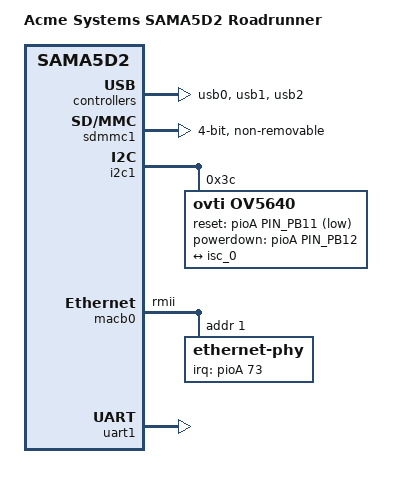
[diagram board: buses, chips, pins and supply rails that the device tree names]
/*
 * Device Tree file for Acme Systems RoadRunner S
 * ISC sensor
 */

/dts-v1/;
#include "sama5d2.dtsi"
#include "sama5d2-pinfunc.h"
#include <dt-bindings/mfd/atmel-flexcom.h>
#include <dt-bindings/gpio/gpio.h>

/ {
	model = "Acme Systems SAMA5D2 Roadrunner";
	compatible = "atmel,sama5d2-roadrunner", "atmel,sama5d27","atmel,sama5d2", "atmel,sama5";

	bootargs = "mem=256M console=ttyS0,115200 root=/dev/mmcblk0p2 rootfstype=ext4 rw rootwait consoleblank=0";

	chosen {
		stdout-path = "serial0:115200n8";
	};

	clocks {
		slow_xtal {
			clock-frequency = <32768>;
		};

		main_xtal {
			clock-frequency = <12000000>;
		};
	};

	ahb {
		usb0: gadget@300000 {
			pinctrl-names = "default";
			pinctrl-0 = <&pinctrl_usba_vbus>;
			status = "okay";
		};

		usb1: ohci@400000 {
			num-ports = <3>;
			pinctrl-names = "default";
			pinctrl-0 = <&pinctrl_usb_default>;
			status = "okay";
		};

		usb2: ehci@500000 {
			status = "okay";
		};

		sdmmc1: sdio-host@b0000000 {
			bus-width = <4>;
			pinctrl-names = "default";
			pinctrl-0 = <&pinctrl_sdmmc1_default>;
			non-removable;
			status = "okay"; /* conflict with qspi0 */
		};

		apb {


			/* Omnivision OV7670 (0.3 MPixel) */
			/*

			i2c1: i2c@fc028000 {
				#address-cells = <1>;
				#size-cells = <0>;
				pinctrl-names = "default";
				pinctrl-0 = <&pinctrl_i2c1_default>;
				status = "okay";

				ov7670: camera@21 {
					compatible = "ovti,ov7670";
					reg = <0x21>;
					pinctrl-names = "default";
					pinctrl-0 = <&pinctrl_sensor_power &pinctrl_sensor_reset>;
					clocks = <&isc>;
					clock-names = "xclk";
					assigned-clocks = <&isc>;
					assigned-clock-rates = <24000000>;
					reset-gpios = <&pioA PIN_PB11 GPIO_ACTIVE_LOW>;
					powerdown-gpios = <&pioA PIN_PB12 GPIO_ACTIVE_HIGH>;

					port {
						ov7670_0: endpoint {
							remote-endpoint = <&isc_0>;
							hsync-active = <1>;
							vsync-active = <1>;
							pclk-sample = <1>;
						};
					};
				};
	
			};

			isc: isc@f0008000 {
				pinctrl-names = "default";
				pinctrl-0 = <&pinctrl_isc_base &pinctrl_isc_data_8bit>;
				status = "okay";

				port {
					isc_0: endpoint@0 {
						remote-endpoint = <&ov7670_0>;
						hsync-active = <1>;
						vsync-active = <0>;
						pclk-sample = <1>;
					};
				};
			};

			*/
			

			/* Omnivision OV5640 (5Mpixel) */

			i2c1: i2c@fc028000 {
				#address-cells = <1>;
				#size-cells = <0>;
				pinctrl-names = "default";
				pinctrl-0 = <&pinctrl_i2c1_default>;
				status = "okay";

				ov5640: camera@3c {
					compatible = "ovti,ov5640";
					reg = <0x3c>;
					pinctrl-names = "default";
					pinctrl-0 = <&pinctrl_sensor_power &pinctrl_sensor_reset>;
					clocks = <&isc>;
					clock-names = "xclk";
					assigned-clocks = <&isc>;
					assigned-clock-rates = <25000000>;
					reset-gpios = <&pioA PIN_PB11 GPIO_ACTIVE_LOW>;
					powerdown-gpios = <&pioA PIN_PB12 GPIO_ACTIVE_HIGH>;

					port {
						ov5640_0: endpoint {
							remote-endpoint = <&isc_0>;
							hsync-active = <1>;
							vsync-active = <1>;
							pclk-sample = <1>;
						};
					};
				};
	
			};


			isc: isc@f0008000 {
				pinctrl-names = "default";
				pinctrl-0 = <&pinctrl_isc_base &pinctrl_isc_data_8bit>;
				status = "okay";

				port {
					isc_0: endpoint@0 {
						remote-endpoint = <&ov5640_0>;
						bus-width = <8>;
						data-shift = <2>;
						hsync-active = <0>;
						vsync-active = <0>;
						pclk-sample = <1>;
					};
				};
			};


			macb0: ethernet@f8008000 {
				pinctrl-names = "default";
				pinctrl-0 = <&pinctrl_macb0_default &pinctrl_macb0_phy_irq>;
				phy-mode = "rmii";
				status = "okay";

				ethernet-phy@1 {
					reg = <0x1>;
					interrupt-parent = <&pioA>;
					interrupts = <73 IRQ_TYPE_LEVEL_LOW>;
					/*interrupts = <PIN_PC9 IRQ_TYPE_LEVEL_LOW>;*/
				};
			};

			tcb0: timer@f800c000 {
				timer0: timer@0 {
					compatible = "atmel,tcb-timer";
					reg = <0>;
				};

				timer1: timer@1 {
					compatible = "atmel,tcb-timer";
					reg = <1>;
				};
			};

			uart1: serial@f8020000 {
				pinctrl-names = "default";
				pinctrl-0 = <&pinctrl_uart1_default>;
				atmel,use-dma-rx;
				atmel,use-dma-tx;
				status = "okay";
			};

			shdwc@f8048010 {
				atmel,shdwc-debouncer = <976>;
				atmel,wakeup-rtc-timer;

				input@0 {
					reg = <0>;
					atmel,wakeup-type = "low";
				};
			};

			watchdog@f8048040 {
				status = "okay";
			};

			pinctrl@fc038000 {
				pinctrl_isc_base: isc_base {
					pinmux = <PIN_PC4__ISC_PCK>,
						 <PIN_PC5__ISC_VSYNC>,
						 <PIN_PC6__ISC_HSYNC>,
						 <PIN_PC7__ISC_MCK>;
					bias-disable;
				};

				pinctrl_isc_data_8bit: isc_data_8bit {
					pinmux = <PIN_PB25__ISC_D11>,
						 <PIN_PB24__ISC_D10>,
						 <PIN_PC3__ISC_D9>,
						 <PIN_PC2__ISC_D8>,
						 <PIN_PC1__ISC_D7>,
						 <PIN_PC0__ISC_D6>,
						 <PIN_PB31__ISC_D5>,
						 <PIN_PB30__ISC_D4>;
					bias-disable;
				};


				pinctrl_sensor_power: sensor_power {
					pinmux = <PIN_PB12__GPIO>;
					bias-disable;
				};

				pinctrl_sensor_reset: sensor_reset {
					pinmux = <PIN_PB11__GPIO>;
					bias-disable;
				};

				pinctrl_i2c0_default: i2c0_default {
					pinmux = <PIN_PD21__TWD0>,
						 <PIN_PD22__TWCK0>;
					bias-disable;
				};

				pinctrl_i2c1_default: i2c1_default {
					pinmux = <PIN_PD4__TWD1>,
						 <PIN_PD5__TWCK1>;
					bias-disable;
				};

				pinctrl_macb0_default: macb0_default {
					pinmux = <PIN_PB14__GTXCK>, 
						 <PIN_PB15__GTXEN>,
						 <PIN_PB16__GRXDV>,
						 <PIN_PB17__GRXER>,
						 <PIN_PB18__GRX0>,
						 <PIN_PB19__GRX1>,
						 <PIN_PB20__GTX0>,
						 <PIN_PB21__GTX1>,
						 <PIN_PB22__GMDC>,
						 <PIN_PB23__GMDIO>;
					bias-disable;
				};

				pinctrl_macb0_phy_irq: macb0_phy_irq {
					pinmux = <PIN_PC9__GPIO>;
					bias-disable;
				};

				pinctrl_sdmmc0_default: sdmmc0_default {
					cmd_data {
						pinmux = <PIN_PA1__SDMMC0_CMD>,
							 <PIN_PA2__SDMMC0_DAT0>,
							 <PIN_PA3__SDMMC0_DAT1>,
							 <PIN_PA4__SDMMC0_DAT2>,
							 <PIN_PA5__SDMMC0_DAT3>,
							 <PIN_PA6__SDMMC0_DAT4>,
							 <PIN_PA7__SDMMC0_DAT5>,
							 <PIN_PA8__SDMMC0_DAT6>,
							 <PIN_PA9__SDMMC0_DAT7>;
						bias-disable;
					};

					ck_cd_rstn_vddsel {
						pinmux = <PIN_PA0__SDMMC0_CK>,
							 <PIN_PA10__SDMMC0_RSTN>,
							 <PIN_PA11__SDMMC0_VDDSEL>,
							 <PIN_PA13__SDMMC0_CD>;
						bias-disable;
					};
				};

				pinctrl_sdmmc1_default: sdmmc1_default {
					cmd_data {
						pinmux = <PIN_PA28__SDMMC1_CMD>,
							 <PIN_PA18__SDMMC1_DAT0>,
							 <PIN_PA19__SDMMC1_DAT1>,
							 <PIN_PA20__SDMMC1_DAT2>,
							 <PIN_PA21__SDMMC1_DAT3>;
						bias-pull-up;
					};

					conf-ck_cd {
						pinmux = <PIN_PA22__SDMMC1_CK>;
						bias-disable;
					};
				};

				pinctrl_uart1_default: uart1_default {
					pinmux = <PIN_PD2__URXD1>,
						 <PIN_PD3__UTXD1>;
					bias-disable;
				};

				pinctrl_uart3_default: uart3_default {
					pinmux = <PIN_PB11__URXD3>,
						 <PIN_PB12__UTXD3>;
					bias-disable;
				};

				pinctrl_usb_default: usb_default {
					pinmux = <PIN_PB10__GPIO>;
					bias-disable;
				};

				pinctrl_usba_vbus: usba_vbus {
					pinmux = <PIN_PA31__GPIO>;
					bias-disable;
				};

				pinctrl_pwm0_pwm2_default: pwm0_pwm2_default {
					pinmux = <PIN_PB5__PWMH2>,
						 <PIN_PB6__PWML2>;
					bias-pull-up;
				};
			};
		};
	};
};
